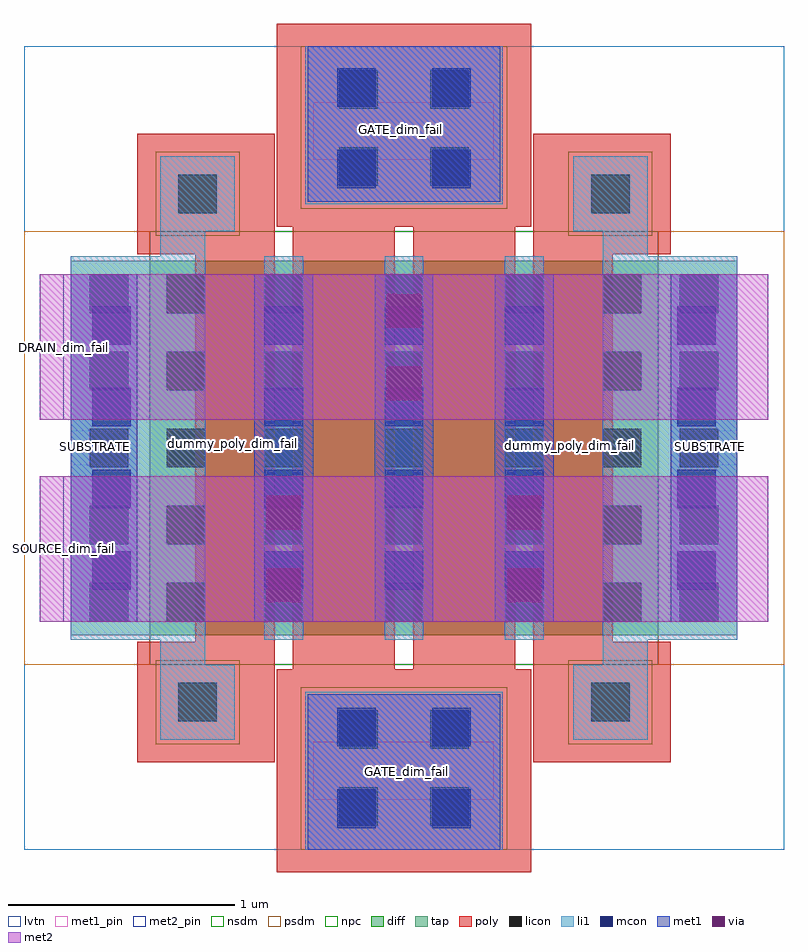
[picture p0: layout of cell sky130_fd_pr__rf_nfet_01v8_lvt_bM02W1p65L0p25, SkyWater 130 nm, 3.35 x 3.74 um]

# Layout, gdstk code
import gdstk
lib = gdstk.Library(unit=1e-6, precision=1e-09)
def R(c, l, rs):  # rectangles x0, y0, x1, y1
    for r in rs: c.add(gdstk.rectangle(r[:2], r[2:], *l))
def A(c, l, x, y, w, h, nx, ny, dx, dy):  # array of equal rectangles
    R(c, l, [(x+i*dx, y+j*dy, x+i*dx+w, y+j*dy+h) for i in range(nx) for j in range(ny)])
def P(c, l, *ps):  # polygons
    for p in ps: c.add(gdstk.Polygon(p, *l))
diff = (65, 20)
tap = (65, 44)
poly = (66, 20)
licon = (66, 44)
li1 = (67, 20)
mcon = (67, 44)
met1_pin = (68, 16)
met1 = (68, 20)
via = (68, 44)
met2_pin = (69, 16)
met2 = (69, 20)
nsdm = (93, 44)
psdm = (94, 20)
npc = (95, 20)
lvtn = (125, 44)

sky130_fd_pr__rf_nfet_01 = lib.new_cell('sky130_fd_pr__rf_nfet_01v8_lvt_bM02W1p65L0p25')
R(sky130_fd_pr__rf_nfet_01, diff, [(0.555,0.945,2.795,2.595)])
R(sky130_fd_pr__rf_nfet_01, tap, [(0.205,0.945,0.555,2.595), (2.795,0.945,3.145,2.595)])
P(sky130_fd_pr__rf_nfet_01, poly, [(0.5,0.385),(0.5,0.915),(0.755,0.915),(0.755,2.625),(0.5,2.625),(0.5,3.155),(1.105,3.155),(1.105,0.385)],
  [(2.245,0.385),(2.245,3.155),(2.85,3.155),(2.85,2.625),(2.595,2.625),(2.595,0.915),(2.85,0.915),(2.85,0.385)],
  [(1.115,-0.1),(1.115,0.795),(1.185,0.795),(1.185,2.745),(1.635,2.745),(1.635,0.795),(1.715,0.795),(1.715,2.745),(1.115,2.745),(1.115,3.64),(2.235,3.64),(2.235,2.745),(2.165,2.745),(2.165,0.795),(2.235,0.795),(2.235,-0.1)])
A(sky130_fd_pr__rf_nfet_01, licon, 0.29, 1.005, 0.17, 0.17, 1, 5, 0, 0.34)
A(sky130_fd_pr__rf_nfet_01, licon, 0.63, 1.005, 0.17, 0.17, 1, 5, 0, 0.34)
A(sky130_fd_pr__rf_nfet_01, licon, 1.06, 1.005, 0.17, 0.17, 3, 5, 0.53, 0.34)
A(sky130_fd_pr__rf_nfet_01, licon, 2.55, 1.005, 0.17, 0.17, 1, 5, 0, 0.34)
A(sky130_fd_pr__rf_nfet_01, licon, 2.89, 1.005, 0.17, 0.17, 1, 5, 0, 0.34)
R(sky130_fd_pr__rf_nfet_01, licon, [(1.39,0.105,1.56,0.275), (1.79,0.105,1.96,0.275), (1.39,0.445,1.56,0.615), (1.79,0.445,1.96,0.615), (0.68,0.565,0.85,0.735), (2.5,0.565,2.67,0.735), (0.68,2.805,0.85,2.975), (2.5,2.805,2.67,2.975), (1.39,2.925,1.56,3.095), (1.79,2.925,1.96,3.095), (1.39,3.265,1.56,3.435), (1.79,3.265,1.96,3.435)])
A(sky130_fd_pr__rf_nfet_01, li1, 1.06, 0.925, 0.17, 1.69, 3, 1, 0.53, 0)
R(sky130_fd_pr__rf_nfet_01, li1, [(1.24,0,2.11,0.695), (0.6,0.485,0.93,0.815), (2.42,0.485,2.75,0.815), (0.6,0.815,0.8,0.925), (2.55,0.815,2.75,0.925), (0.205,0.925,0.8,2.615), (2.55,0.925,3.145,2.615), (0.6,2.615,0.8,2.725), (2.55,2.615,2.75,2.725), (0.6,2.725,0.93,3.055), (2.42,2.725,2.75,3.055), (1.24,2.845,2.11,3.54)])
A(sky130_fd_pr__rf_nfet_01, mcon, 0.3, 1.145, 0.17, 0.17, 1, 4, 0, 0.36)
A(sky130_fd_pr__rf_nfet_01, mcon, 1.06, 1.145, 0.17, 0.17, 3, 4, 0.53, 0.36)
A(sky130_fd_pr__rf_nfet_01, mcon, 2.88, 1.145, 0.17, 0.17, 1, 4, 0, 0.36)
R(sky130_fd_pr__rf_nfet_01, mcon, [(1.38,0.095,1.55,0.265), (1.8,0.095,1.97,0.265), (1.38,0.455,1.55,0.625), (1.8,0.455,1.97,0.625), (1.38,2.915,1.55,3.085), (1.8,2.915,1.97,3.085), (1.38,3.275,1.55,3.445), (1.8,3.275,1.97,3.445)])
R(sky130_fd_pr__rf_nfet_01, met1_pin, [(1.275,0.22,2.07,0.475), (0.205,1.695,0.435,1.845), (2.915,1.695,3.145,1.845), (1.275,3.04,2.07,3.295)])
A(sky130_fd_pr__rf_nfet_01, met1, 1.015, 1.005, 0.26, 1.53, 3, 1, 0.53, 0)
R(sky130_fd_pr__rf_nfet_01, met1, [(1.25,0,2.1,0.685), (0.205,1.005,0.5,2.535), (2.85,1.005,3.145,2.535), (1.25,2.855,2.1,3.54)])
R(sky130_fd_pr__rf_nfet_01, via, [(1.07,1.09,1.22,1.24), (2.13,1.09,2.28,1.24), (1.07,1.41,1.22,1.56), (2.13,1.41,2.28,1.56), (1.6,1.98,1.75,2.13), (1.6,2.3,1.75,2.45)])
R(sky130_fd_pr__rf_nfet_01, met2_pin, [(0.07,1.005,0.175,1.645), (0.07,1.895,0.175,2.535)])
R(sky130_fd_pr__rf_nfet_01, met2, [(0.07,1.005,3.28,1.645), (0.07,1.895,3.28,2.535)])
R(sky130_fd_pr__rf_nfet_01, nsdm, [(0.555,0.815,2.795,2.725)])
R(sky130_fd_pr__rf_nfet_01, psdm, [(0,0.815,0.555,2.725), (2.795,0.815,3.35,2.725)])
R(sky130_fd_pr__rf_nfet_01, npc, [(1.22,0,2.13,0.715), (0.58,0.465,0.95,0.835), (2.4,0.465,2.77,0.835), (0.58,2.705,0.95,3.075), (2.4,2.705,2.77,3.075), (1.22,2.825,2.13,3.54)])
R(sky130_fd_pr__rf_nfet_01, lvtn, [(0,0,3.35,3.54)])
sky130_fd_pr__rf_nfet_01.add(gdstk.Label('dummy_poly_dim_fail', (0.92,1.79), layer=83, texttype=44))
sky130_fd_pr__rf_nfet_01.add(gdstk.Label('dummy_poly_dim_fail', (2.405,1.78), layer=83, texttype=44))
sky130_fd_pr__rf_nfet_01.add(gdstk.Label('GATE_dim_fail', (1.66,3.175), layer=68, texttype=5))
sky130_fd_pr__rf_nfet_01.add(gdstk.Label('GATE_dim_fail', (1.685,0.345), layer=68, texttype=5))
sky130_fd_pr__rf_nfet_01.add(gdstk.Label('SUBSTRATE', (0.315,1.775), layer=68, texttype=16))
sky130_fd_pr__rf_nfet_01.add(gdstk.Label('SUBSTRATE', (3.025,1.775), layer=68, texttype=16))
sky130_fd_pr__rf_nfet_01.add(gdstk.Label('model_use_only_dim_fail', (1.89,1.77), layer=66, texttype=83))
sky130_fd_pr__rf_nfet_01.add(gdstk.Label('model_use_only_dim_fail', (1.46,1.77), layer=66, texttype=83))
sky130_fd_pr__rf_nfet_01.add(gdstk.Label('model_use_only_dim_fail', (0.905,1.77), layer=66, texttype=83))
sky130_fd_pr__rf_nfet_01.add(gdstk.Label('model_use_only_dim_fail', (2.405,1.77), layer=66, texttype=83))
sky130_fd_pr__rf_nfet_01.add(gdstk.Label('SOURCE_dim_fail', (0.175,1.325), layer=69, texttype=5))
sky130_fd_pr__rf_nfet_01.add(gdstk.Label('DRAIN_dim_fail', (0.175,2.215), layer=69, texttype=5))

lib.write_gds('sky130_fd_pr__rf_nfet_01v8_lvt_bM02W1p65L0p25.gds')
